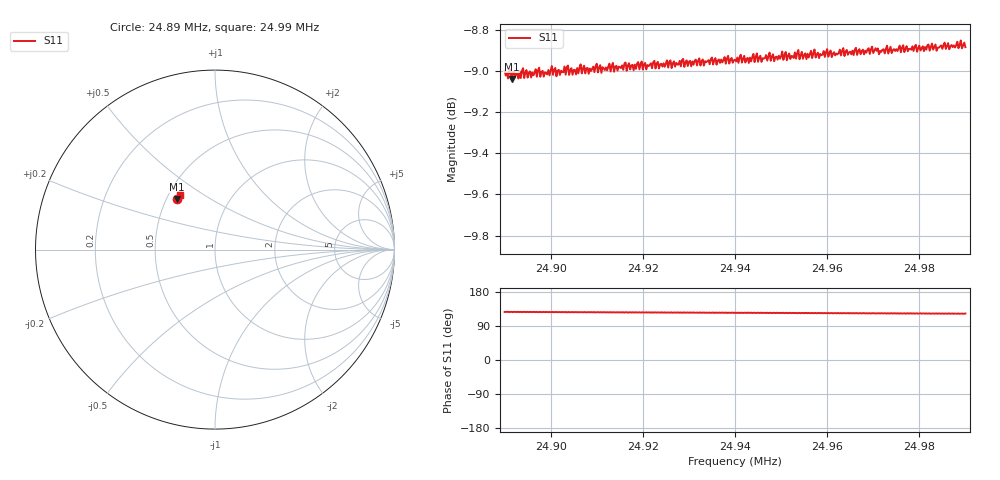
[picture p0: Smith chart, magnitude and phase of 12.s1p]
# Hz S RI R 50
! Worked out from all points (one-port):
!   401 points, 24.89 MHz to 24.99 MHz, reference 50 ohm
!   lowest |S11| = -9.0 dB at 24.8915 MHz (marker M1), VSWR 2.09, Z = 28.2 + j18.2 ohm
!   |S11| at or under -10 dB: nowhere
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2.489e7  -0.2125 0.2842
2.48915e7  -0.2132 0.2816
2.48925e7  -0.2106 0.285
2.489425e7  -0.2127 0.2822
2.489525e7  -0.21 0.2855
2.4897e7  -0.2122 0.2829
2.489875e7  -0.2094 0.2861
2.49005e7  -0.2117 0.2838
2.49025e7  -0.2112 0.2849
2.4915e7  -0.2088 0.2878
2.49275e7  -0.2063 0.2903
2.494e7  -0.2038 0.2932
2.49525e7  -0.2013 0.2957
2.4954e7  -0.2012 0.2951
2.4955e7  -0.1979 0.2983
2.495675e7  -0.2007 0.2957
2.49585e7  -0.1975 0.2989
2.496025e7  -0.2001 0.2965
2.4965e7  -0.1987 0.2986
2.49775e7  -0.1963 0.3003
2.49795e7  -0.1958 0.3005
2.49805e7  -0.1923 0.3035
2.498225e7  -0.1953 0.3011
2.498325e7  -0.1917 0.3042
2.498575e7  -0.1947 0.3019
2.498675e7  -0.1911 0.3048
2.49885e7  -0.1942 0.3024
2.499e7  -0.1938 0.3029
